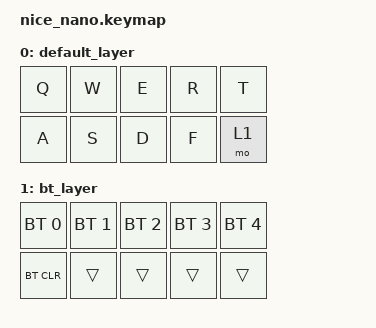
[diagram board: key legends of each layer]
/ {
    keymap {
        compatible = "zmk,keymap";

        default_layer {
            bindings = <
                &kp Q   &kp W   &kp E   &kp R   &kp T
                &kp A   &kp S   &kp D   &kp F   &mo 1
            >;
        };

        bt_layer {
            bindings = <
                &bt BT_SEL 0  &bt BT_SEL 1  &bt BT_SEL 2  &bt BT_SEL 3  &bt BT_SEL 4
                &bt BT_CLR    &trans        &trans        &trans        &trans
            >;
        };
    };
};
